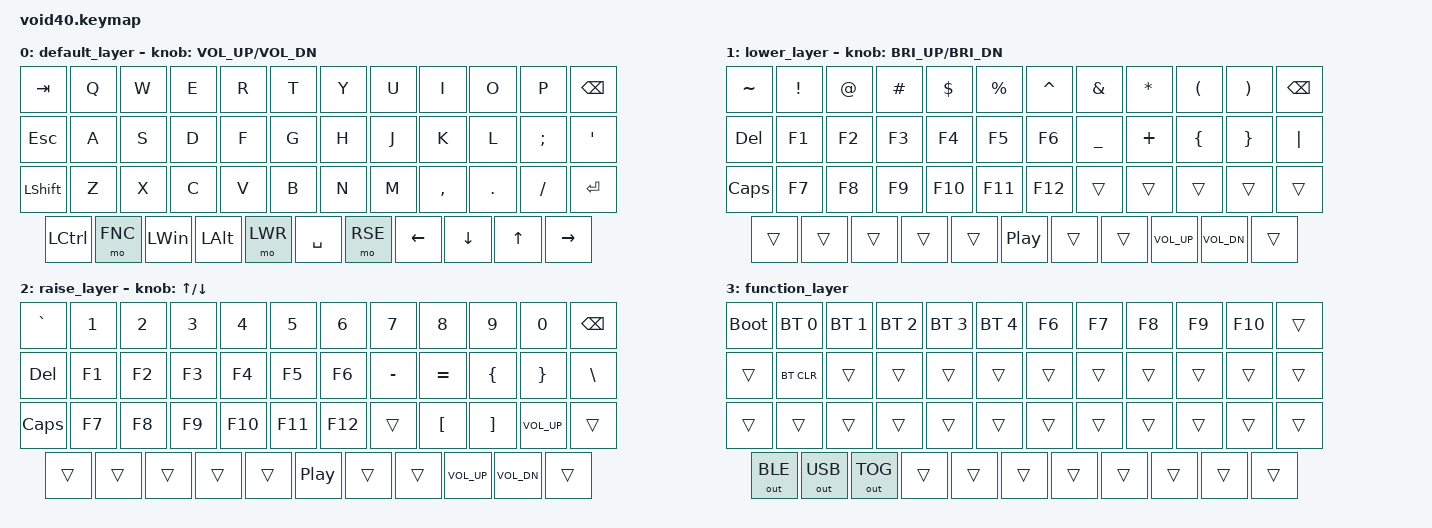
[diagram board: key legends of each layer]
#include <behaviors.dtsi>
#include <dt-bindings/zmk/keys.h>
#include <dt-bindings/zmk/bt.h>
#include <dt-bindings/zmk/outputs.h>

#define DEF 0
#define LWR 1
#define RSE 2
#define FNC 3

/ {
    keymap {
        compatible = "zmk,keymap";

        default_layer {
            bindings = <
                &kp TAB     &kp Q       &kp W       &kp E       &kp R       &kp T       &kp Y       &kp U       &kp I       &kp O       &kp P       &kp BSPC
                &kp ESC    &kp A       &kp S       &kp D       &kp F       &kp G       &kp H       &kp J       &kp K       &kp L       &kp SEMICOLON       &kp SQT
                &kp LSHIFT  &kp Z       &kp X       &kp C       &kp V       &kp B       &kp N       &kp M       &kp COMMA   &kp DOT     &kp SLASH   &kp ENTER
                &kp LCTRL   &mo FNC       &kp LEFT_WIN    &kp LALT    &mo LWR    &kp SPACE      &mo RSE     &kp LEFT    &kp DOWN     &kp UP    &kp RIGHT  
            >;

             sensor-bindings = <&inc_dec_kp C_VOL_UP C_VOL_DN>;
        };

        lower_layer {
            bindings = <
                &kp TILDE   &kp EXCL    &kp AT      &kp HASH    &kp DLLR    &kp PRCNT   &kp CARET   &kp AMPS    &kp STAR    &kp LPAR    &kp RPAR        &kp BSPC
                &kp DEL      &kp F1      &kp F2      &kp F3      &kp F4      &kp F5      &kp F6     &kp UNDER      &kp PLUS   &kp LBRC    &kp RBRC         &kp PIPE
                &kp CAPS      &kp F7      &kp F8    &kp F9      &kp F10      &kp F11      &kp F12      &trans      &trans    &trans    &trans    &trans
                &trans      &trans      &trans      &trans      &trans      &kp C_PLAY_PAUSE      &trans         &trans   &kp C_VOL_UP      &kp C_VOL_DN    &trans
            >;

               sensor-bindings = <&inc_dec_kp C_BRI_UP C_BRI_DN>;
        };

        raise_layer {
            bindings = <
                &kp GRAVE   &kp N1      &kp N2      &kp N3      &kp N4      &kp N5      &kp N6      &kp N7      &kp N8      &kp N9      &kp N0          &kp BSPC
                &kp DEL      &kp F1      &kp F2      &kp F3      &kp F4     &kp F5      &kp F6      &kp MINUS      &kp EQUAL   &kp LBRC   &kp RBRC          &kp BSLH
                &kp CAPS      &kp F7      &kp F8      &kp F9      &kp F10      &kp F11      &kp F12      &trans      &kp LBKT    &kp RBKT    &kp C_VOL_UP    &trans
                &trans      &trans      &trans      &trans      &trans      &kp C_PLAY_PAUSE     &trans      &trans        &kp C_VOL_UP      &kp C_VOL_DN    &trans
            >;

             sensor-bindings = <&inc_dec_kp UP DOWN>;
        };

        function_layer {
            bindings = <
                &bootloader     &bt BT_SEL 0          &bt BT_SEL 1          &bt BT_SEL 2          &bt BT_SEL 3          &bt BT_SEL 4         &kp F6      &kp F7      &kp F8      &kp F9      &kp F10     &trans
                &trans          &bt BT_CLR          &trans          &trans          &trans          &trans          &trans      &trans      &trans   &trans     &trans     &trans
                &trans      &trans    &trans    &trans    &trans    &trans    &trans      &trans      &trans      &trans      &trans      &trans
                &out OUT_BLE    &out OUT_USB    &out OUT_TOG    &trans          &trans          &trans          &trans      &trans      &trans      &trans      &trans
            >;
        };
    };
};
